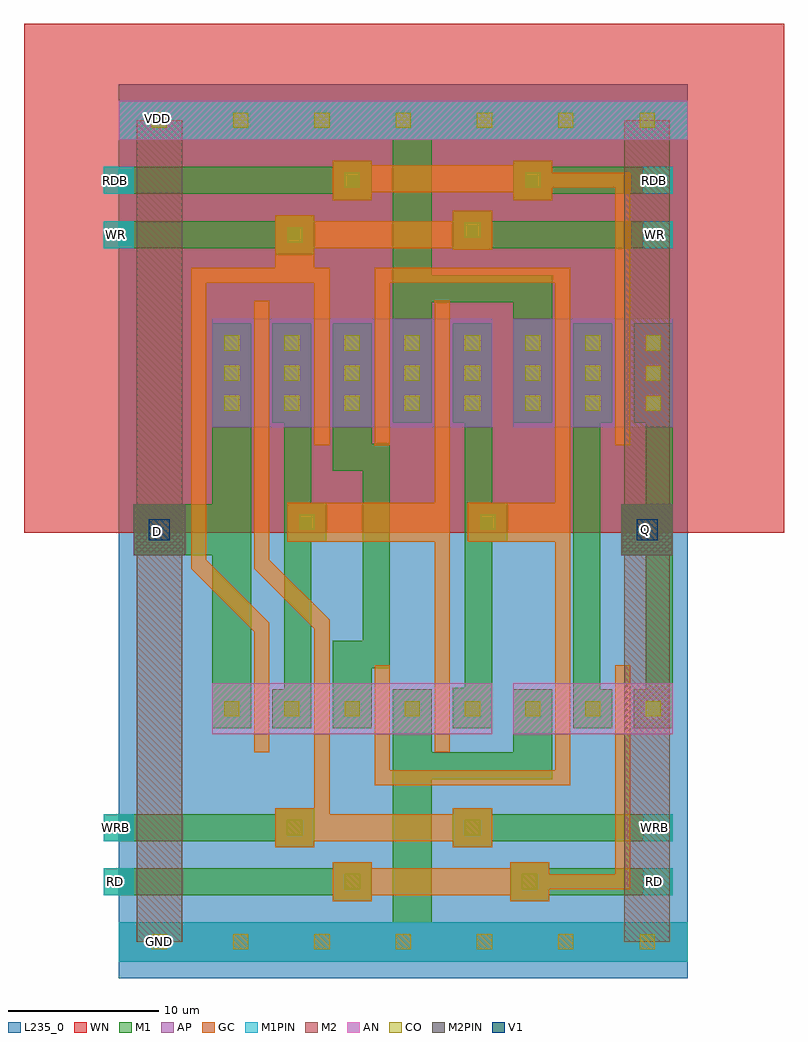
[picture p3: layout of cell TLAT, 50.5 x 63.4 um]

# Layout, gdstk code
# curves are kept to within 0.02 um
import gdstk
lib = gdstk.Library(unit=1e-6, precision=1e-09)
def R(c, l, rs):  # rectangles x0, y0, x1, y1
    for r in rs: c.add(gdstk.rectangle(r[:2], r[2:], *l))
def A(c, l, x, y, w, h, nx, ny, dx, dy):  # array of equal rectangles
    R(c, l, [(x+i*dx, y+j*dy, x+i*dx+w, y+j*dy+h) for i in range(nx) for j in range(ny)])
def P(c, l, *ps):  # polygons
    for p in ps: c.add(gdstk.Polygon(p, *l))
AP = (3, 1)
AN = (3, 2)
GC = (8, 1)
CO = (11, 0)
M1 = (13, 0)
V1 = (19, 0)
M2 = (20, 0)
M1PIN = (48, 1)
M2PIN = (49, 1)
WN = (140, 0)
L235_0 = (235, 0)

tlat = lib.new_cell('TLAT')
R(tlat, AP, [(0,1.1,28.2,3.7), (28.2,1.1,37.8,3.7), (6.2,36.6,12.8,43.8), (10.3,36.6,16.8,43.8), (14.2,36.6,24.8,43.8), (26.2,36.6,32.8,43.8), (26.2,36.6,32.8,43.8), (30.2,36.6,36.8,43.8)])
R(tlat, AN, [(6.2,16.2,12.8,19.6), (10.2,16.2,16.8,19.6), (14.2,16.2,24.8,19.6), (26.2,16.2,32.8,19.6), (26.2,16.2,32.8,19.6), (30.2,16.2,36.8,19.6), (0,55.7,28.2,58.3), (28.2,55.7,37.8,58.3)])
P(tlat, GC, [(14.2,5.1),(14.2,7.7),(16.8,7.7),(16.8,7.3),(26,7.3),(26,7.7),(28.6,7.7),(28.6,6.9),(33,6.9),(33,20.8),(34,20.8),(34,5.9),(28.6,5.9),(28.6,5.1),(26,5.1),(26,5.5),(16.8,5.5),(16.8,5.1)],
  [(10.4,8.7),(10.4,11.3),(13,11.3),(13,23.2),(9,27.2),(9,45),(10,45),(10,27.8),(14,23.8),(14,10.9),(22.2,10.9),(22.2,11.3),(24.8,11.3),(24.8,8.7),(22.2,8.7),(22.2,9.1),(13,9.1),(13,8.7)],
  [(21,15),(21,29),(11.2,29),(11.2,31.6),(21,31.6),(21,45),(22,45),(22,15)],
  [(17,12.8),(17,20.8),(18,20.8),(18,13.8),(29,13.8),(29,29),(23.2,29),(23.2,31.6),(29,31.6),(29,46.2),(18,46.2),(18,35.4),(17,35.4),(17,47.2),(30,47.2),(30,12.8)],
  [(33,35.4),(33,52.5),(28.8,52.5),(28.8,51.7),(26.2,51.7),(26.2,52.2),(16.8,52.2),(16.8,51.7),(14.2,51.7),(14.2,54.3),(16.8,54.3),(16.8,54),(26.2,54),(26.2,54.3),(28.8,54.3),(28.8,53.5),(34,53.5),(34,35.4)],
  [(9,15),(9,23),(4.8,27.2),(4.8,47.2),(10.4,47.2),(10.4,50.7),(13,50.7),(13,50.3),(22.2,50.3),(22.2,51),(24.8,51),(24.8,48.4),(22.2,48.4),(22.2,48.5),(13,48.5),(13,47.2),(14,47.2),(14,35.4),(13,35.4),(13,46.2),(5.8,46.2),(5.8,27.8),(10,23.6),(10,15)])
A(tlat, CO, 2.2, 1.9, 1, 1, 7, 2, 5.4, 54.6)
A(tlat, CO, 23, 17.4, 1, 1, 3, 2, 4, 20.3)
A(tlat, CO, 7, 37.7, 1, 1, 1, 3, 0, 2)
A(tlat, CO, 23, 37.7, 1, 1, 1, 3, 0, 2)
A(tlat, CO, 23, 39.7, 1, 1, 3, 2, 4, 2)
R(tlat, CO, [(15,5.9,16,6.9), (26.8,5.9,27.8,6.9), (11.2,9.5,12.2,10.5), (23,9.5,24,10.5), (7,17.4,8,18.4), (11,17.4,12,18.4), (11,17.4,12,18.4), (11,17.4,12,18.4), (15,17.4,16,18.4), (15,17.4,16,18.4), (15,17.4,16,18.4), (15,17.4,16,18.4), (19,17.4,20,18.4), (19,17.4,20,18.4), (19,17.4,20,18.4), (19,17.4,20,18.4), (23,17.4,24,18.4), (31,17.4,32,18.4), (31,17.4,32,18.4), (31,17.4,32,18.4), (31,17.4,32,18.4), (31,17.4,32,18.4), (31,17.4,32,18.4), (31,17.4,32,18.4), (31,17.4,32,18.4), (31,17.4,32,18.4), (35,17.4,36,18.4), (35,17.4,36,18.4), (35,17.4,36,18.4), (35,17.4,36,18.4), (12,29.8,13,30.8), (24,29.8,25,30.8), (11,37.7,12,38.7), (11,37.7,12,38.7), (15,37.7,16,38.7), (15,37.7,16,38.7), (15,37.7,16,38.7), (15,37.7,16,38.7), (19,37.7,20,38.7), (19,37.7,20,38.7), (19,37.7,20,38.7), (19,37.7,20,38.7), (19,37.7,20,38.7), (19,37.7,20,38.7), (19,37.7,20,38.7), (19,37.7,20,38.7), (31,37.7,32,38.7), (31,37.7,32,38.7), (31,37.7,32,38.7), (31,37.7,32,38.7), (31,37.7,32,38.7), (31,37.7,32,38.7), (31,37.7,32,38.7), (31,37.7,32,38.7), (31,37.7,32,38.7), (35,37.7,36,38.7), (35,37.7,36,38.7), (35,37.7,36,38.7), (35,37.7,36,38.7), (11,39.7,12,40.7), (11,39.7,12,40.7), (15,39.7,16,40.7), (15,39.7,16,40.7), (15,39.7,16,40.7), (15,39.7,16,40.7), (19,39.7,20,40.7), (19,39.7,20,40.7), (19,39.7,20,40.7), (19,39.7,20,40.7), (19,39.7,20,40.7), (19,39.7,20,40.7), (19,39.7,20,40.7), (19,39.7,20,40.7), (31,39.7,32,40.7), (31,39.7,32,40.7), (31,39.7,32,40.7), (31,39.7,32,40.7), (31,39.7,32,40.7), (31,39.7,32,40.7), (31,39.7,32,40.7), (31,39.7,32,40.7), (31,39.7,32,40.7), (35,39.7,36,40.7), (35,39.7,36,40.7), (35,39.7,36,40.7), (35,39.7,36,40.7), (11,41.7,12,42.7), (11,41.7,12,42.7), (15,41.7,16,42.7), (15,41.7,16,42.7), (15,41.7,16,42.7), (15,41.7,16,42.7), (19,41.7,20,42.7), (19,41.7,20,42.7), (19,41.7,20,42.7), (19,41.7,20,42.7), (19,41.7,20,42.7), (19,41.7,20,42.7), (19,41.7,20,42.7), (19,41.7,20,42.7), (31,41.7,32,42.7), (31,41.7,32,42.7), (31,41.7,32,42.7), (31,41.7,32,42.7), (31,41.7,32,42.7), (31,41.7,32,42.7), (31,41.7,32,42.7), (31,41.7,32,42.7), (31,41.7,32,42.7), (35,41.7,36,42.7), (35,41.7,36,42.7), (35,41.7,36,42.7), (35,41.7,36,42.7), (11.2,48.9,12.2,49.9), (23,49.2,24,50.2), (15,52.5,16,53.5), (27,52.5,28,53.5)])
R(tlat, M1, [(0,1.1,37.8,3.7), (6.2,16.6,8.8,43.5), (1,28.1,4.4,31.5), (4.4,28.1,6.2,31.5), (33.4,28.1,36.8,31.5), (0,55.7,37.8,58.3)])
P(tlat, M1, [(26,5.1),(26,7.7),(28.6,7.7),(28.6,7.3),(36.8,7.3),(36.8,5.5),(28.6,5.5),(28.6,5.1)],
  [(22.2,8.7),(22.2,11.3),(24.8,11.3),(24.8,10.9),(36.8,10.9),(36.8,9.1),(24.8,9.1),(24.8,8.7)],
  [(22.2,48.4),(22.2,51),(24.8,51),(24.8,50.3),(36.8,50.3),(36.8,48.5),(24.8,48.5),(24.8,48.4)],
  [(26.2,51.7),(26.2,54.3),(28.8,54.3),(28.8,53.9),(36.8,53.9),(36.8,52.1),(28.8,52.1),(28.8,51.7)],
  [(14.2,51.7),(14.2,52.1),(-1,52.1),(-1,53.9),(14.2,53.9),(14.2,54.3),(16.8,54.3),(16.8,51.7)],
  [(10.4,48.1),(10.4,48.5),(-1,48.5),(-1,50.3),(10.4,50.3),(10.4,50.7),(13,50.7),(13,48.1)],
  [(14.2,5.1),(14.2,5.5),(-1,5.5),(-1,7.3),(14.2,7.3),(14.2,7.7),(16.8,7.7),(16.8,5.1)],
  [(10.4,8.7),(10.4,9.1),(-1,9.1),(-1,10.9),(10.4,10.9),(10.4,11.3),(13,11.3),(13,8.7)],
  [(18.2,3.7),(18.2,19.2),(20.8,19.2),(20.8,15),(26.2,15),(26.2,19.2),(28.8,19.2),(28.8,13.2),(20.8,13.2),(20.8,3.7)],
  [(10.2,16.6),(10.2,19.2),(11,19.2),(11,36.9),(10.2,36.9),(10.2,43.5),(12.8,43.5),(12.8,31.6),(13.8,31.6),(13.8,29),(12.8,29),(12.8,16.6)],
  [(14.2,16.6),(14.2,22.4),(16.2,22.4),(16.2,33.7),(14.2,33.7),(14.2,43.5),(16.8,43.5),(16.8,35.5),(18,35.5),(18,20.6),(16.8,20.6),(16.8,16.6)],
  [(30.2,16.6),(30.2,43.5),(32.8,43.5),(32.8,36.9),(32,36.9),(32,19.2),(32.8,19.2),(32.8,16.6)],
  [(34.2,16.6),(34.2,19.2),(35,19.2),(35,36.9),(34.2,36.9),(34.2,43.5),(36.8,43.5),(36.8,16.6)],
  [(22.2,16.6),(22.2,19.3),(23,19.3),(23,36.9),(22.2,36.9),(22.2,43.5),(24.8,43.5),(24.8,31.6),(25.8,31.6),(25.8,29),(24.8,29),(24.8,16.6)],
  [(18.2,36.9),(18.2,55.7),(20.8,55.7),(20.8,46.7),(28.8,46.7),(28.8,36.9),(26.2,36.9),(26.2,44.9),(20.8,44.9),(20.8,36.9)])
R(tlat, V1, [(2,29.1,3.4,30.5), (34.4,29.1,35.8,30.5)])
R(tlat, M2, [(1,28.1,4.4,31.5), (33.4,28.1,36.8,31.5)])
R(tlat, M1PIN, [(0,1.1,28.2,3.7), (0,1.1,37.8,3.7), (-1,5.5,1,7.3), (34.8,5.5,36.8,7.3), (-1,9.1,1,10.9), (34.8,9.1,36.8,10.9), (-1,48.5,1,50.3), (34.8,48.5,36.8,50.3), (-1,52.1,1,53.9), (34.8,52.1,36.8,53.9), (0,55.7,28.2,58.3), (0,55.7,37.8,58.3)])
R(tlat, M2PIN, [(1,28.1,4.4,31.5), (33.4,28.1,36.8,31.5)])
R(tlat, WN, [(-6.3,29.6,44.2,63.4)])
R(tlat, L235_0, [(0,0,37.8,59.4)])
tlat.add(gdstk.FlexPath([(2.7,2.4),(2.7,57)], 3, ends="flush", simple_path=True, layer=20, datatype=0))  # M2
tlat.add(gdstk.FlexPath([(35.1,2.4),(35.1,57)], 3, ends="flush", simple_path=True, layer=20, datatype=0))  # M2
tlat.add(gdstk.Label('D', (2.6,29.7), layer=49, texttype=0))
tlat.add(gdstk.Label('Q', (35,29.8), layer=49, texttype=0))
tlat.add(gdstk.Label('GND', (2.7,2.4), layer=48, texttype=0))
tlat.add(gdstk.Label('VDD', (2.6,57.1), layer=48, texttype=0))
tlat.add(gdstk.Label('RD', (35.6,6.4), layer=48, texttype=0))
tlat.add(gdstk.Label('WRB', (35.6,10), layer=48, texttype=0))
tlat.add(gdstk.Label('RDB', (35.6,53), layer=48, texttype=0))
tlat.add(gdstk.Label('WR', (35.6,49.4), layer=48, texttype=0))
tlat.add(gdstk.Label('RDB', (-0.2,53), layer=48, texttype=0))
tlat.add(gdstk.Label('WR', (-0.2,49.4), layer=48, texttype=0))
tlat.add(gdstk.Label('RD', (-0.2,6.4), layer=48, texttype=0))
tlat.add(gdstk.Label('WRB', (-0.2,10), layer=48, texttype=0))

lib.write_gds('TLAT.gds')
